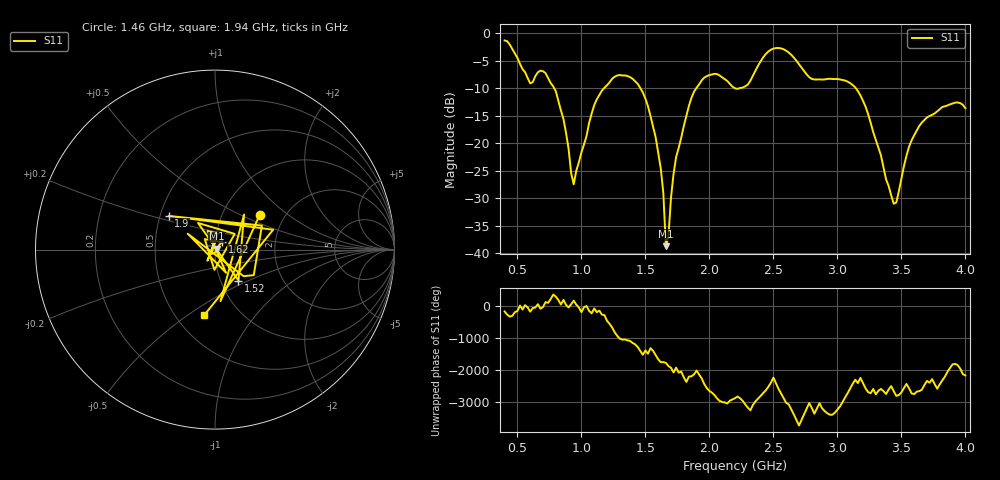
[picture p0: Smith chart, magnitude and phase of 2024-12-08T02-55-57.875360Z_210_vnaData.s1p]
!Created with skrf (http://scikit-rf.org).
# Hz S RI R 50.0
!freq ReS11 ImS11
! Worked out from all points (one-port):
!   181 points, 400 MHz to 4 GHz, reference 50 ohm
!   lowest |S11| = -38.7 dB at 1.66 GHz (marker M1), VSWR 1.02, Z = 51.1 + j0.489 ohm
!   |S11| at or under -10 dB: 787.1 MHz to 1.177 GHz (390.3 MHz wide, 39.7 % of centre); 1.46 GHz to 1.898 GHz (437.8 MHz wide, 26.1 % of centre); 3.144 GHz to end of sweep (the widest 3 of 4)
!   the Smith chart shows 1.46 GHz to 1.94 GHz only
!   S11 on the Smith chart (normalised r, x): 1.46 GHz: 1.50, +0.65; 1.52 GHz: 1.21, -0.44; 1.62 GHz: 1.08, +0.09; 1.9 GHz: 0.56, +0.23; 1.94 GHz: 0.68, -0.58
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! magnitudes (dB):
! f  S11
! 400 MHz  -1.3
! 600 MHz  -9.1
! 720 MHz  -7.3
! 860 MHz  -15.6
! 940 MHz  -27.5
! 1.1 GHz  -13.1
! 1.3 GHz  -7.6
! 1.46 GHz  -10.0
! 1.52 GHz  -13.3
! 1.62 GHz  -24.6
! 1.64 GHz  -29.1
! 1.66 GHz  -38.7
! 1.68 GHz  -36.9
! 1.72 GHz  -25.6
! 1.76 GHz  -20.9
! 1.9 GHz  -9.9
! 1.94 GHz  -8.6
! 2.2 GHz  -10.0
! 2.3 GHz  -9.4
! 2.48 GHz  -3.0
! 2.66 GHz  -4.5
! 2.8 GHz  -8.3
! 3.1 GHz  -9.1
! 3.22 GHz  -13.4
! 3.44 GHz  -31.0
! 3.56 GHz  -20.6
! 3.7 GHz  -15.3
! 4 GHz  -13.6
